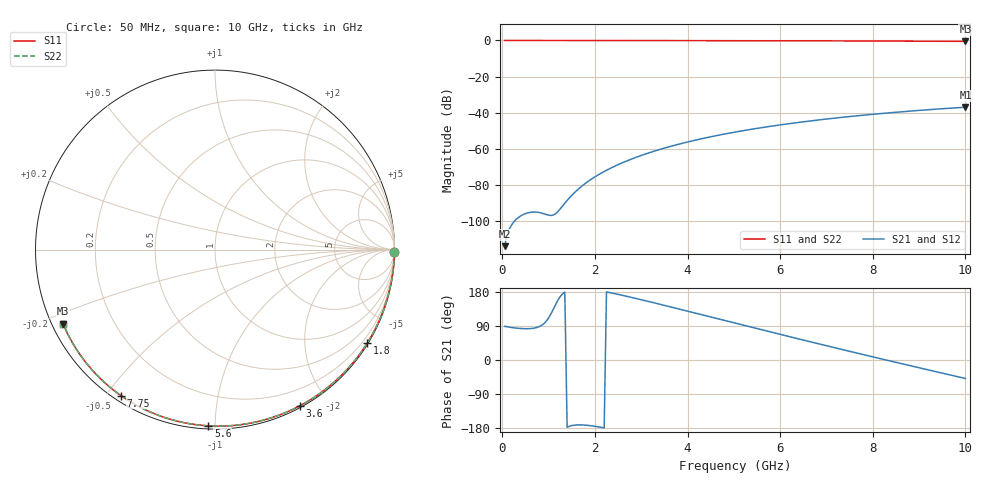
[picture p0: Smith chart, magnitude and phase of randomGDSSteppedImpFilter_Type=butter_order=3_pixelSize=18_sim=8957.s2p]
! freq	dB(S11)	phase(S11)	dB(S12)	phase(S12)
!  dB(S21)	phase(S21)	dB(S22)	phase(S22)
!S-par simulation data
#  GHz  S  DB  R 50
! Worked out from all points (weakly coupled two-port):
!   200 points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, 50 MHz to 10 GHz, reference 50 ohm
!   highest |S21| = -36.92 dB at 10 GHz (marker M1); lowest = -113.8 dB at 50 MHz (marker M2)
!   lowest |S11| = -0.5 dB at 10 GHz (marker M3), VSWR 33.40, Z = 1.58 - j11.5 ohm
!   |S11| at or under -10 dB: nowhere
!   |S22| runs from -0.5 to 0.0 dB; largest |S21 - S12| = 0
!   S11 on the Smith chart (normalised r, x): 50 MHz: open; 1.8 GHz: 0.03, -3.54; 3.6 GHz: 0.02, -1.68; 5.6 GHz: 0.02, -0.96; 7.75 GHz: 0.02, -0.55; 10 GHz: 0.03, -0.23
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0.05  -0.00 -0.9  -113.76 88.9  -113.76 88.9  -0.00 -0.9
0.45  -0.01 -8.0  -96.29 82.7  -96.29 82.7  -0.01 -8.0
0.9  -0.02 -15.9  -95.84 96.1  -95.84 96.1  -0.02 -15.9
1.3  -0.03 -22.9  -91.58 174.1  -91.58 174.1  -0.03 -22.9
1.75  -0.04 -30.7  -79.90 -171.5  -79.90 -171.5  -0.04 -30.6
1.8  -0.04 -31.5  -78.93 -171.9  -78.93 -171.9  -0.04 -31.5
1.95  -0.04 -34.1  -76.26 -174.0  -76.26 -174.0  -0.04 -34.1
2.1  -0.05 -36.6  -73.90 -176.9  -73.90 -176.9  -0.05 -36.6
2.3  -0.05 -40.0  -71.13 178.4  -71.13 178.4  -0.05 -40.0
2.5  -0.06 -43.4  -68.68 173.3  -68.68 173.3  -0.06 -43.4
2.9  -0.06 -50.0  -64.52 162.0  -64.52 162.0  -0.06 -50.0
3.4  -0.08 -58.2  -60.27 147.2  -60.27 147.2  -0.08 -58.2
3.6  -0.08 -61.4  -58.80 141.1  -58.80 141.1  -0.08 -61.4
4.3  -0.10 -72.5  -54.37 119.7  -54.37 119.7  -0.10 -72.4
5.05  -0.13 -83.9  -50.56 96.6  -50.56 96.6  -0.13 -83.9
5.6  -0.15 -92.1  -48.21 79.8  -48.21 79.8  -0.15 -92.1
6.15  -0.18 -100.2  -46.16 63.1  -46.16 63.1  -0.18 -100.1
6.7  -0.21 -108.0  -44.35 46.6  -44.35 46.6  -0.21 -108.0
7.75  -0.29 -122.7  -41.44 15.6  -41.44 15.6  -0.29 -122.7
8.35  -0.34 -131.0  -40.03 -1.9  -40.03 -1.9  -0.34 -131.0
9.2  -0.42 -142.8  -38.30 -26.2  -38.30 -26.2  -0.42 -142.7
10  -0.52 -154.0  -36.92 -48.8  -36.92 -48.8  -0.52 -153.9
